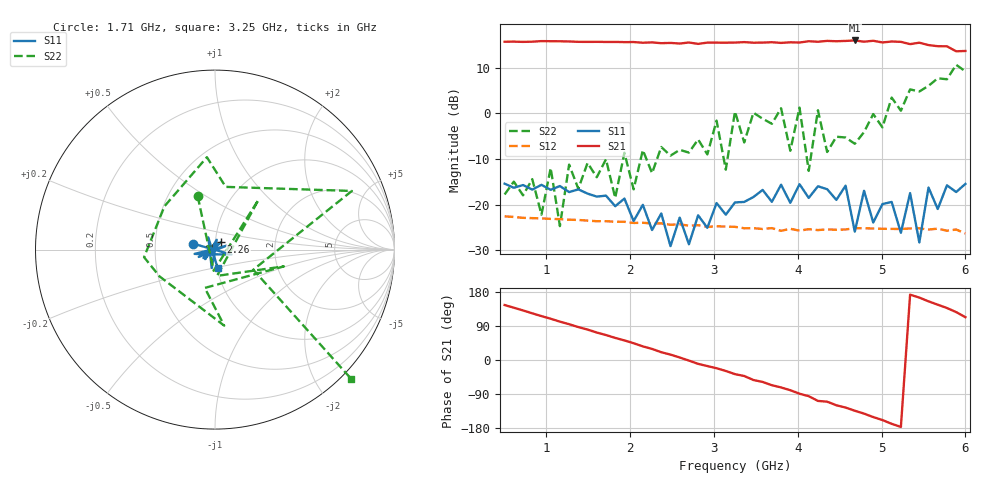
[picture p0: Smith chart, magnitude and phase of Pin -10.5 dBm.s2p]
! RsaToolbox (C) 2015 Rohde & Schwarz America
! Number of points: 51
! Number of ports: 2
! Balanced ports?: No
# Hz S RI R 50
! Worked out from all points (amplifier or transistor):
!   51 points, 500 MHz to 6 GHz, reference 50 ohm
!   highest |S21| = 15.9 dB at 4.68 GHz (marker M1)
!   |S21| within 3 dB of that: start of sweep to end of sweep
!   unconditionally stable (mu >= 1): start of sweep to 3.003 GHz; 3.048 GHz to 3.218 GHz; 4.29 GHz to 4.796 GHz (the widest 3 of 6)
!   at 1.38 GHz: K = 1.36, MAG = 15.9 dB, |S12| = -23.4 dB
!   at 3.25 GHz: K = 0.10, MSG = 20.2 dB, |S12| = -24.9 dB
!   at 6 GHz: K = -14.84, MSG = 20.0 dB, |S12| = -26.3 dB
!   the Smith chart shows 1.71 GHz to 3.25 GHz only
!   S11 on the Smith chart (normalised r, x): 1.71 GHz: 0.78, +0.05; 2.26 GHz: 1.06, +0.09; 3.25 GHz: 1.01, -0.21
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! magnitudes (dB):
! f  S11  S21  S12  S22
! 500 MHz  -15.4  15.6  -22.6  -17.8
! 940 MHz  -15.7  15.8  -23.0  -22.2
! 1.05 GHz  -16.8  15.8  -23.1  -12.0
! 1.16 GHz  -15.9  15.7  -23.2  -24.7
! 1.27 GHz  -17.3  15.7  -23.3  -11.2
! 1.49 GHz  -17.6  15.6  -23.5  -10.9
! 1.71 GHz  -18.0  15.6  -23.6  -10.1
! 2.26 GHz  -25.6  15.5  -24.1  -13.1
! 2.37 GHz  -21.9  15.3  -24.1  -7.4
! 2.7 GHz  -28.7  15.5  -24.6  -8.6
! 3.03 GHz  -19.7  15.4  -24.7  -1.6
! 3.14 GHz  -22.2  15.4  -24.8  -12.4
! 3.25 GHz  -19.5  15.5  -24.9  0.4
! 3.91 GHz  -19.6  15.5  -25.3  -8.2
! 4.02 GHz  -15.5  15.5  -25.7  1.2
! 4.13 GHz  -18.5  15.8  -25.4  -12.6
! 4.24 GHz  -16.0  15.6  -25.6  0.6
! 4.68 GHz  -25.9  15.9  -25.2  -6.7
! 5.12 GHz  -19.4  15.7  -25.3  3.4
! 5.45 GHz  -28.3  15.4  -25.2  4.8
! 5.56 GHz  -16.3  14.9  -25.5  6.0
! 6 GHz  -15.5  13.6  -26.3  9.2
